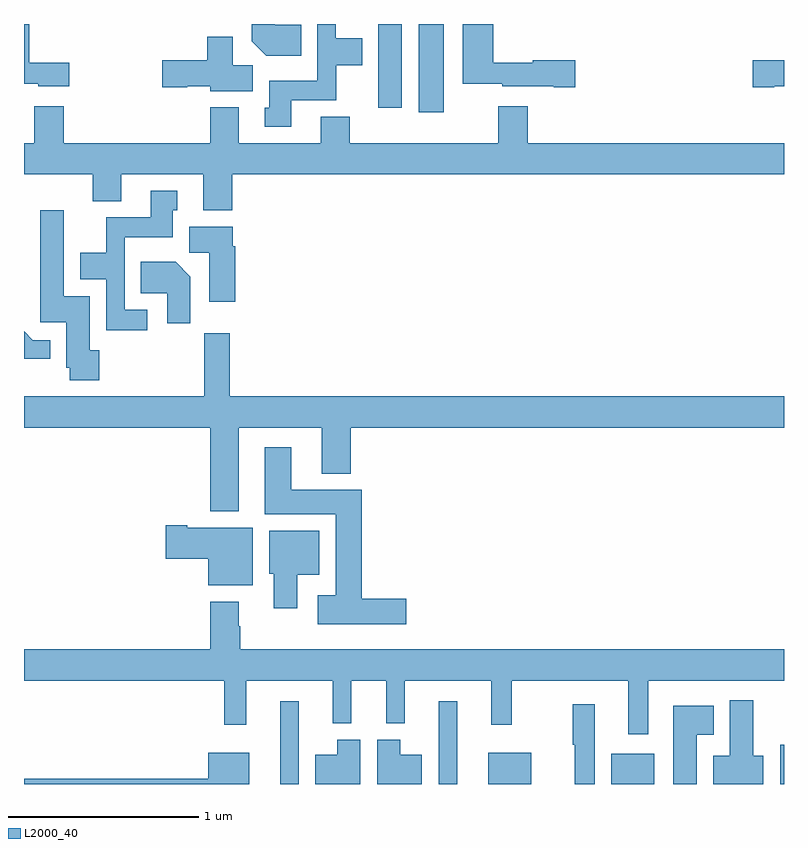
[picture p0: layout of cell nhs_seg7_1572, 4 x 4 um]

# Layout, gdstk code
import gdstk
lib = gdstk.Library(unit=1e-6, precision=1e-09)
def R(c, l, rs):  # rectangles x0, y0, x1, y1
    for r in rs: c.add(gdstk.rectangle(r[:2], r[2:], *l))
def P(c, l, *ps):  # polygons
    for p in ps: c.add(gdstk.Polygon(p, *l))
L2000_40 = (2000, 40)

nhs_seg7_1572 = lib.new_cell('nhs_seg7_1572')
R(nhs_seg7_1572, L2000_40, [(218.348,1072,218.445,1072.435), (219.183,1072,219.28,1072.435), (219.443,1072,219.67,1072.165), (220.091,1072,220.318,1072.159), (220.979,1072,221,1072.207), (219.077,1075.536,219.208,1076), (218.864,1075.56,218.989,1076)])
P(nhs_seg7_1572, L2000_40, [(218.459,1075.996),(218.32,1075.996),(218.32,1076),(218.198,1076),(218.198,1075.91),(218.276,1075.832),(218.459,1075.832)],
  [(218.407,1075.598),(218.643,1075.598),(218.643,1075.784),(218.779,1075.784),(218.779,1075.924),(218.64,1075.924),(218.64,1076),(218.544,1076),(218.544,1075.702),(218.291,1075.702),(218.291,1075.56),(218.267,1075.56),(218.267,1075.458),(218.407,1075.458)],
  [(219.901,1075.808),(219.678,1075.808),(219.678,1075.795),(219.47,1075.795),(219.47,1075.999),(219.308,1075.999),(219.308,1075.685),(219.516,1075.685),(219.516,1075.673),(219.788,1075.673),(219.788,1075.666),(219.901,1075.666)],
  [(217.237,1075.795),(217.028,1075.795),(217.028,1075.999),(217,1075.999),(217,1075.685),(217.074,1075.685),(217.074,1075.673),(217.237,1075.673)],
  [(218.203,1075.784),(218.098,1075.784),(218.098,1075.933),(217.964,1075.933),(217.964,1075.808),(217.728,1075.808),(217.728,1075.666),(217.86,1075.666),(217.86,1075.673),(217.98,1075.673),(217.98,1075.646),(218.203,1075.646)],
  [(220.948,1075.673),(221,1075.673),(221,1075.808),(220.836,1075.808),(220.836,1075.666),(220.948,1075.666)],
  [(219.497,1075.567),(219.497,1075.372),(218.714,1075.372),(218.714,1075.513),(218.561,1075.513),(218.561,1075.372),(218.131,1075.372),(218.131,1075.561),(217.979,1075.561),(217.979,1075.372),(217.208,1075.372),(217.208,1075.567),(217.055,1075.567),(217.055,1075.372),(217,1075.372),(217,1075.208),(217.361,1075.208),(217.361,1075.067),(217.513,1075.067),(217.513,1075.208),(217.943,1075.208),(217.943,1075.019),(218.096,1075.019),(218.096,1075.208),(221,1075.208),(221,1075.372),(219.65,1075.372),(219.65,1075.567)],
  [(217.648,1074.495),(217.53,1074.495),(217.53,1074.878),(217.783,1074.878),(217.783,1075.02),(217.807,1075.02),(217.807,1075.123),(217.667,1075.123),(217.667,1074.982),(217.432,1074.982),(217.432,1074.796),(217.295,1074.796),(217.295,1074.656),(217.434,1074.656),(217.434,1074.387),(217.648,1074.387)],
  [(217.397,1074.282),(217.345,1074.282),(217.345,1074.568),(217.21,1074.568),(217.21,1075.021),(217.085,1075.021),(217.085,1074.429),(217.223,1074.429),(217.223,1074.192),(217.24,1074.192),(217.24,1074.126),(217.397,1074.126)],
  [(218.111,1074.83),(218.098,1074.83),(218.098,1074.934),(217.871,1074.934),(217.871,1074.796),(217.976,1074.796),(217.976,1074.537),(218.111,1074.537)],
  [(217.876,1074.67),(217.798,1074.748),(217.615,1074.748),(217.615,1074.584),(217.754,1074.584),(217.754,1074.426),(217.876,1074.426)],
  [(217.138,1074.336),(217.047,1074.336),(217,1074.384),(217,1074.239),(217.138,1074.239)],
  [(217.948,1074.04),(217,1074.04),(217,1073.876),(217.979,1073.876),(217.979,1073.435),(218.131,1073.435),(218.131,1073.876),(218.567,1073.876),(218.567,1073.633),(218.72,1073.633),(218.72,1073.876),(221,1073.876),(221,1074.04),(218.084,1074.04),(218.084,1074.373),(217.948,1074.373)],
  [(219.013,1072.976),(218.777,1072.976),(218.777,1073.548),(218.407,1073.548),(218.407,1073.773),(218.267,1073.773),(218.267,1073.42),(218.642,1073.42),(218.642,1072.993),(218.547,1072.993),(218.547,1072.841),(219.013,1072.841)],
  [(218.203,1073.35),(217.858,1073.35),(217.858,1073.363),(217.746,1073.363),(217.746,1073.185),(217.97,1073.185),(217.97,1073.045),(218.203,1073.045)],
  [(218.437,1073.102),(218.554,1073.102),(218.554,1073.332),(218.291,1073.332),(218.291,1073.106),(218.315,1073.106),(218.315,1072.926),(218.437,1072.926)],
  [(220.285,1072.544),(221,1072.544),(221,1072.708),(218.139,1072.708),(218.139,1072.829),(218.131,1072.829),(218.131,1072.96),(217.979,1072.96),(217.979,1072.708),(217,1072.708),(217,1072.544),(218.053,1072.544),(218.053,1072.311),(218.171,1072.311),(218.171,1072.544),(218.624,1072.544),(218.624,1072.319),(218.723,1072.319),(218.723,1072.544),(218.906,1072.544),(218.906,1072.319),(219.005,1072.319),(219.005,1072.544),(219.458,1072.544),(219.458,1072.311),(219.568,1072.311),(219.568,1072.544),(220.181,1072.544),(220.181,1072.263),(220.285,1072.263)],
  [(220.891,1072.15),(220.837,1072.15),(220.837,1072.441),(220.715,1072.441),(220.715,1072.15),(220.628,1072.15),(220.628,1072),(220.891,1072)],
  [(220.003,1072.42),(219.889,1072.42),(219.889,1072.207),(219.899,1072.207),(219.899,1072),(220.003,1072)],
  [(220.54,1072.259),(220.63,1072.259),(220.63,1072.411),(220.418,1072.411),(220.418,1072),(220.54,1072)],
  [(219.094,1072.153),(218.98,1072.153),(218.98,1072.234),(218.858,1072.234),(218.858,1072),(219.094,1072)],
  [(218.77,1072.234),(218.648,1072.234),(218.648,1072.153),(218.534,1072.153),(218.534,1072),(218.77,1072)],
  [(218.185,1072.165),(217.97,1072.165),(217.97,1072.028),(217,1072.028),(217,1072),(218.185,1072)])

lib.write_gds('nhs_seg7_1572.gds')
